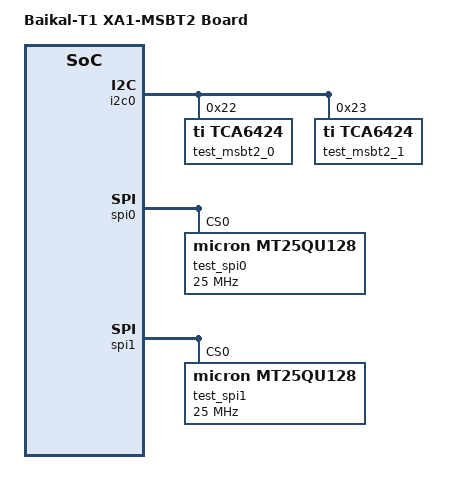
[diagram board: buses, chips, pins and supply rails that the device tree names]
/*
 * Baikal-T1 XA1-MSBT2 debug board device tree
 *
 * Copyright (C) 2018 T-platforms JSC
 *
 * This program is free software; you can redistribute it and/or
 * modify it under the terms of the GNU General Public License
 * as published by the Free Software Foundation; either version 2
 * of the License, or (at your option) any later version.
 */

/dts-v1/;

#include "tplatforms_msbt2.dtsi"

/ {
	model = "Baikal-T1 XA1-MSBT2 Board";
	compatible = "baikal,mips", "baikal,baikal-t1-soc", "tplatforms,baikal-msbt2-card", "tplatforms,baikal-xa1-msbt2-board";
};

&i2c0 {
	status = "okay";

	test_msbt2_0: gpio@22 {
		compatible = "ti,tca6424";
		reg = <0x22>;
		gpio-controller;
		#gpio-cells = <2>;
		ngpios = <24>; /* Informative */
	};

	test_msbt2_1: gpio@23 {
		compatible = "ti,tca6424";
		reg = <0x23>;
		gpio-controller;
		#gpio-cells = <2>;
		ngpios = <24>; /* Informative */
	};
};

&spi0 {
	status = "okay";
	num-cs = <4>;

	test_spi0: mt25qu128@0 {
		compatible = "micron,mt25qu128", "jedec,spi-nor";
		#address-cells = <1>;
		#size-cells = <1>;
		reg = <0>;
		spi-max-frequency = <25000000>;
		m25p,fast-read;
	};
};

&spi1 {
	status = "okay";
	num-cs = <4>;

	test_spi1: mt25qu128@0 {
		compatible = "micron,mt25qu128", "jedec,spi-nor";
		#address-cells = <1>;
		#size-cells = <1>;
		reg = <0>;
		spi-max-frequency = <25000000>;
		m25p,fast-read;
	};
};
